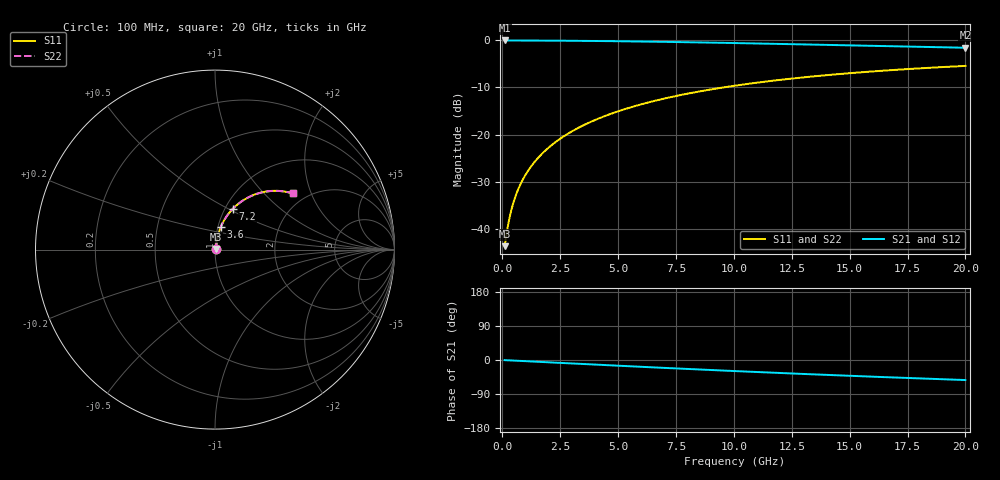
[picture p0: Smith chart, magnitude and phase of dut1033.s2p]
! Touchstone file exported from HFSS 2026.1.0
!  File:  C:/ffzhzh/LocalFiles/Ansys_Project_Files/temp_train_BSMRDL_1033_1783173639_18472.aedt
!  Generated:  10:01:52 PM Jul  4, 2026
!  Design:  BSMRDL
!  Project:  temp_train_BSMRDL_1033_1783173639_18472
! Variables:
!  h_bsmrdl = 2.77um
!  h_ox = 20um
!  h_rdl = 5um
!  h_sub = 80um
!  h_tmrdl = 5um
!  h_tsv = 80um
!  h_via = 3um
!  l_bsmrdl = 744.9um
!  l_sub = 1144.9um
!  l_tmrdl = 200um
!  m_sub = 200um
!  pitch = 55.07um
!  r_tsv = 6um
!  s_tmrdl = 10um
!  w_bsmrdl = 18.47um
!  w_sub = 500um
!  w_tmrdl = 12um
!  x_tsv_center1 = 206um
!  x_tsv_center2 = 969.37um
!  x_tsv_center3 = 1181.37um
!  x_tsv_center4 = 1944.74um
!  x_tsv_center5 = 2156.74um
!  x_tsv_center6 = 2920.11um
# GHz S MA R 50.000000
! Terminal data exported
! Port[1] = BSM_RDL1_1_T1
! Port[2] = BSM_RDL1_1_T2
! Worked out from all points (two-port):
!   200 points, 100 MHz to 20 GHz, reference 50 ohm
!   highest |S21| = -0.05 dB at 100 MHz (marker M1); lowest = -1.6 dB at 20 GHz (marker M2)
!   |S21| within 3 dB of the highest: start of sweep to end of sweep
!   lowest |S11| = -43.7 dB at 100 MHz (marker M3), VSWR 1.01, Z = 50.5 + j0.388 ohm
!   |S11| at or under -10 dB: start of sweep to 9.553 GHz
!   |S22| runs from -43.7 to -5.4 dB; largest |S21 - S12| = 2.6e-15
!   S11 on the Smith chart (normalised r, x): 100 MHz: 1.01, +0.01; 3.6 GHz: 1.03, +0.26; 7.2 GHz: 1.09, +0.52; 20 GHz: 1.71, +1.49
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0.1  0.00656 35.8  0.9947 -0.3  0.9947 -0.3  0.00656 35.8
! Gamma 0 0 0 0
! Port Impedance 50 0 50 0
0.2  0.009412 54.3  0.9946 -0.6  0.9946 -0.6  0.009412 54.3
0.3  0.01275 63.1  0.9944 -1.0  0.9944 -1.0  0.01275 63.1
0.4  0.01622 68.0  0.9941 -1.3  0.9941 -1.3  0.01622 68.0
0.5  0.01973 71.0  0.9939 -1.6  0.9939 -1.6  0.01973 71.0
0.6  0.02324 73.1  0.9937 -1.9  0.9937 -1.9  0.02324 73.1
0.8  0.03028 75.6  0.9933 -2.5  0.9933 -2.5  0.03028 75.6
1.1  0.04086 77.5  0.9927 -3.4  0.9927 -3.4  0.04086 77.5
1.3  0.04793 78.1  0.9923 -4.0  0.9923 -4.0  0.04793 78.1
1.6  0.05855 78.5  0.9916 -4.9  0.9916 -4.9  0.05855 78.5
2.1  0.07624 78.4  0.9903 -6.4  0.9903 -6.4  0.07624 78.4
2.7  0.09739 77.6  0.9882 -8.2  0.9882 -8.2  0.09739 77.6
3.5  0.1253 76.0  0.9848 -10.6  0.9848 -10.6  0.1253 76.0
3.6  0.1288 75.8  0.9843 -10.9  0.9843 -10.9  0.1288 75.8
5  0.1764 72.3  0.9764 -15.1  0.9764 -15.1  0.1764 72.3
6.8  0.2347 67.6  0.9632 -20.3  0.9632 -20.3  0.2347 67.6
7.2  0.2471 66.5  0.96 -21.4  0.96 -21.4  0.2471 66.5
8.6  0.2891 62.8  0.9476 -25.3  0.9476 -25.3  0.2891 62.8
10.1  0.3312 58.8  0.9332 -29.4  0.9332 -29.4  0.3312 58.8
13.4  0.4131 50.6  0.8991 -37.8  0.8991 -37.8  0.4131 50.6
16.7  0.4805 42.9  0.8647 -45.6  0.8647 -45.6  0.4804 42.9
20  0.5345 35.8  0.8326 -52.9  0.8326 -52.9  0.5345 35.8
